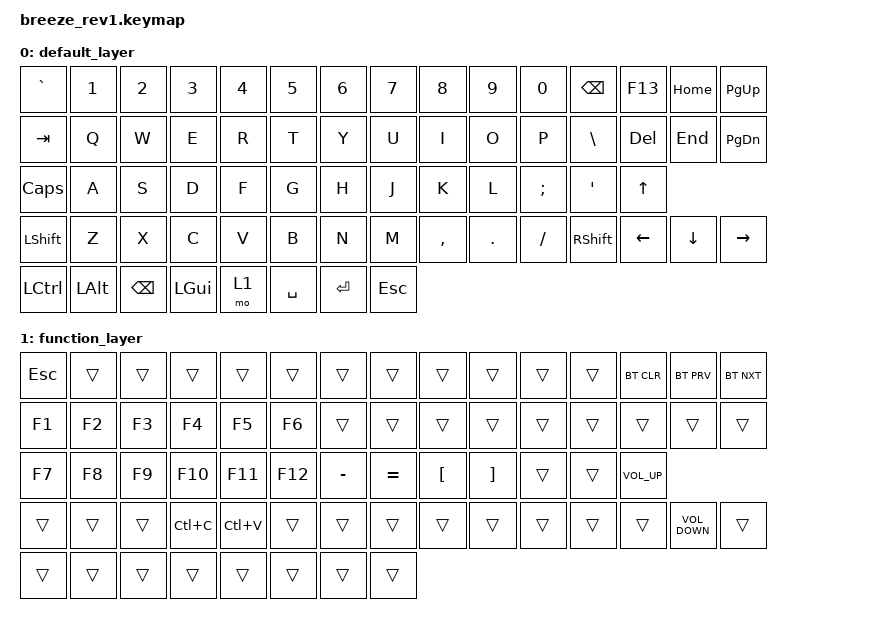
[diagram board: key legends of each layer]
/*
 * Copyright (c) 2022 The ZMK Contributors
 *
 * SPDX-License-Identifier: MIT
 */

#include <behaviors.dtsi>
#include <dt-bindings/zmk/bt.h>
#include <dt-bindings/zmk/keys.h>

/ {
    keymap {
        compatible = "zmk,keymap";

        default_layer {
            // Ref: https://zmkfirmware.dev/docs/codes/
            // ---  MAIN  -----------------------------------------------------------------------------------------------------------------------
            // |    ESC    |     1     |     2     |     3      |      4      |      5     |                           |      6      |      7     |      8      |      9     |     0    |    BSPC    | |    -/_    |     =/+     |    GRAVE    |
            // |    TAB    |     Q     |     W     |     E      |      R      |      T     |                           |      Y      |      U     |      I      |      O     |     P    |    DEL     | |     \     |      [      |      ]      |
            // |   LCTRL   |     A     |     S     |     D      |      F      |      G     |                           |      H      |      J     |      K      |      L     |     ;    |     '      | |           |      UP     |             |
            // |   SHIFT   |     Z     |     X     |     C      |      V      |      B     |                           |      N      |      M     |      ,      |      .     |     /    |   RSHIFT   | |     L     |      DN     |      R      |
            //                                     |   NUMPAD   |     LALT    |    LCMD    |   SPACE    |  |   ENTER   |   FUNCTION  |  MACOS APP |  MACOS LANG |

            bindings = <
&kp GRAVE     &kp N1    &kp N2         &kp N3        &kp N4  &kp N5     &kp N6     &kp N7      &kp N8     &kp N9   &kp N0    &kp BSPC       &kp F13   &kp HOME  &kp PAGE_UP
&kp TAB       &kp Q     &kp W          &kp E         &kp R   &kp T      &kp Y      &kp U       &kp I      &kp O    &kp P     &kp BACKSLASH  &kp DEL   &kp END   &kp PAGE_DOWN
&kp CAPSLOCK  &kp A     &kp S          &kp D         &kp F   &kp G      &kp H      &kp J       &kp K      &kp L    &kp SEMI  &kp APOS       &kp UP
&kp LSHFT     &kp Z     &kp X          &kp C         &kp V   &kp B      &kp N      &kp M       &kp COMMA  &kp DOT  &kp FSLH  &kp RSHIFT     &kp LEFT  &kp DOWN  &kp RIGHT
&kp LCTRL     &kp LALT  &kp BACKSPACE  &kp LEFT_GUI  &mo 1   &kp SPACE  &kp ENTER  &kp ESCAPE
            >;
        };

        function_layer {
            // ---  FUNCTION  -------------------------------------------------------------------------------------------------------------------
            // | BT Clear  |  BT Prev  |  BT Next  |            |             |            |                           |             |            |             |            |          |            | |           |             |             |
            // |           |           |           |            |             |            |                           |             |            |     UP      |            |          |            | |           |             |             |
            // |           |           |           |            |             |            |                           |             |    LEFT    |    DOWN     |   RIGHT    |          |            | |           |             |             |
            // |           |           |           |            |             |            |                           |             |    MUTE    |  VOL DOWN   |   VOL UP   |          |            | |           |             |             |
            //                                     |            |             |            |            |  |           |             |            |             |

            bindings = <
&kp ESCAPE  &trans  &trans  &trans     &trans     &trans   &trans     &trans     &trans            &trans             &trans  &trans  &bt BT_CLR       &bt BT_PRV         &bt BT_NXT
&kp F1      &kp F2  &kp F3  &kp F4     &kp F5     &kp F6   &trans     &trans     &trans            &trans             &trans  &trans  &trans           &trans             &trans
&kp F7      &kp F8  &kp F9  &kp F10    &kp F11    &kp F12  &kp MINUS  &kp EQUAL  &kp LEFT_BRACKET  &kp RIGHT_BRACKET  &trans  &trans  &kp C_VOLUME_UP
&trans      &trans  &trans  &kp LC(C)  &kp LC(V)  &trans   &trans     &trans     &trans            &trans             &trans  &trans  &trans           &kp C_VOLUME_DOWN  &trans
&trans      &trans  &trans  &trans     &trans     &trans   &trans     &trans
            >;
        };
    };
};
